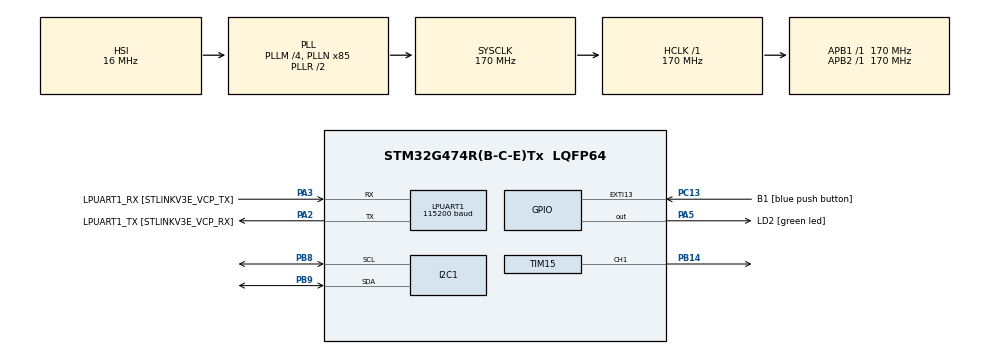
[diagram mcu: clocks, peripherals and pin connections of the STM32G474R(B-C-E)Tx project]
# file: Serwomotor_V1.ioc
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I2C1.Timing=0x40B285C2
LPUART1.BaudRate=115200
Mcu.Family=STM32G4
Mcu.Name=STM32G474R(B-C-E)Tx
Mcu.Package=LQFP64
NVIC.EXTI15_10_IRQn=true\:0\:0\:false\:false\:true\:true\:true\:true
NVIC.PriorityGroup=NVIC_PRIORITYGROUP_4
NVIC.TIM1_UP_TIM16_IRQn=true\:0\:0\:false\:true\:true\:1\:true\:true\:true
NVIC.TIM20_UP_IRQn=true\:0\:0\:false\:true\:true\:2\:true\:true\:true
NVIC.TIM8_UP_IRQn=true\:0\:0\:false\:true\:true\:3\:true\:true\:true
PA13.GPIO_Label=T_SWDIO
PA13.Mode=Serial_Wire
PA13.Signal=SYS_JTMS-SWDIO
PA14.GPIO_Label=T_SWCLK
PA14.Mode=Serial_Wire
PA14.Signal=SYS_JTCK-SWCLK
PA2.GPIO_Label=LPUART1_TX [STLINKV3E_VCP_RX]
PA2.Mode=Asynchronous
PA2.Signal=LPUART1_TX
PA3.GPIO_Label=LPUART1_RX [STLINKV3E_VCP_TX]
PA3.Mode=Asynchronous
PA3.Signal=LPUART1_RX
PA5.GPIO_Label=LD2 [green led]
PA5.Signal=GPIO_Output
PB14.Signal=S_TIM15_CH1
PB3.GPIO_Label=T_SWO
PB3.Signal=SYS_JTDO-SWO
PB4.Signal=S_TIM16_CH1
PB8-BOOT0.Mode=I2C
PB8-BOOT0.Signal=I2C1_SCL
PB9.Mode=I2C
PB9.Signal=I2C1_SDA
PC13.GPIO_Label=B1 [blue push button]
PC13.Signal=GPXTI13
PC14-OSC32_IN.GPIO_Label=RCC_OSC32_IN
PC14-OSC32_IN.Mode=LSE-External-Oscillator
PC14-OSC32_IN.Signal=RCC_OSC32_IN
PC15-OSC32_OUT.GPIO_Label=RCC_OSC32_OUT
PC15-OSC32_OUT.Mode=LSE-External-Oscillator
PC15-OSC32_OUT.Signal=RCC_OSC32_OUT
PF0-OSC_IN.GPIO_Label=RCC_OSC_IN
PF0-OSC_IN.Mode=HSE-External-Oscillator
PF0-OSC_IN.Signal=RCC_OSC_IN
PF1-OSC_OUT.GPIO_Label=RCC_OSC_OUT
PF1-OSC_OUT.Mode=HSE-External-Oscillator
PF1-OSC_OUT.Signal=RCC_OSC_OUT
ProjectManager.HeapSize=0x200
ProjectManager.StackSize=0x400
ProjectManager.TargetToolchain=STM32CubeIDE
RCC.ADC12Freq_Value=170000000
RCC.ADC345Freq_Value=170000000
RCC.AHBFreq_Value=170000000
RCC.APB1Freq_Value=170000000
RCC.APB1TimFreq_Value=170000000
RCC.APB2Freq_Value=170000000
RCC.APB2TimFreq_Value=170000000
RCC.CortexFreq_Value=170000000
RCC.EXTERNAL_CLOCK_VALUE=12288000
RCC.HCLKFreq_Value=170000000
RCC.HSE_VALUE=24000000
RCC.HSI48_VALUE=48000000
RCC.HSI_VALUE=16000000
RCC.PLLM=RCC_PLLM_DIV4
RCC.PLLN=85
RCC.RTCClockSelection=RCC_RTCCLKSOURCE_LSE
RCC.SYSCLKFreq_VALUE=170000000
RCC.SYSCLKSource=RCC_SYSCLKSOURCE_PLLCLK
RCC.USBFreq_Value=170000000
RCC.VCOOutputFreq_Value=340000000
SH.S_TIM15_CH1.0=TIM15_CH1,PWM Generation1 CH1
SH.S_TIM16_CH1.0=TIM16_CH1
TIM1.PeriodNoDither=999
TIM1.Prescaler=16999
TIM15.AutoReloadPreload=TIM_AUTORELOAD_PRELOAD_ENABLE
TIM15.Channel-PWM\ Generation1\ CH1=TIM_CHANNEL_1
TIM15.PeriodNoDither=19999
TIM15.Prescaler=169
TIM20.PeriodNoDither=9999
TIM20.Prescaler=16999
TIM8.PeriodNoDither=9999
TIM8.Prescaler=1699
VP_SYS_VS_DBSignals.Mode=DisableDeadBatterySignals
VP_TIM15_VS_ClockSourceINT.Mode=Internal
VP_TIM1_VS_ClockSourceINT.Mode=Internal
VP_TIM20_VS_ClockSourceINT.Mode=Internal
VP_TIM8_VS_ClockSourceINT.Mode=Internal
board=NUCLEO-G474RE

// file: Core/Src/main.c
/* USER CODE BEGIN Header */
/**
  ******************************************************************************
  * @file           : main.c
  * @brief          : Main program body
  ******************************************************************************
  * @attention
  *
  * Copyright (c) 2025 STMicroelectronics.
  * All rights reserved.
  *
  * This software is licensed under terms that can be found in the LICENSE file
  * in the root directory of this software component.
  * If no LICENSE file comes with this software, it is provided AS-IS.
  *
  ******************************************************************************
  */
/* USER CODE END Header */
#include "main.h"
#include "i2c.h"
#include "usart.h"
#include "tim.h"
#include "gpio.h"

/* USER CODE BEGIN Includes */
#include "SerwoSimple.h"
#include <stdio.h>
#include <string.h>
#include "MPU6050.h"
/* USER CODE END Includes */

/* USER CODE BEGIN PV */
//MPU6050
MPU6050_t MPU6050;
float Roll, Pitch, Yaw;
float RollA, PitchA, YawA;
float RollG, PitchG, YawG;

//Servomotor
//volatile int16_t ServoValue = 0;
//volatile int8_t Dir = 1;
//uint16_t Tmp = 0;
/*
static int ServoValue = 0;
static int Dir = 1;  // 1 = ruch do 45, -1 = ruch do 0, 0 = postój
static int Tmp = 0;
const int CZAS_POSTOJU = 1000;

uint16_t Counter = 0;

char Message[128];

volatile uint16_t StartTheServo = 0;
volatile uint16_t ServoInterrupt = 0;
volatile uint8_t InterruptFlag = 0;

//sinusoida
static float phase = 0.0f;

// Amplituda (0..450)
#define SERVO_AMPLITUDE 450.0f

// Krok fazy – im większy, tym szybciej „sinusoida”
// 0.05 → wolno i płynnie
// 0.1  → dwa razy szybciej
#define PHASE_STEP 0.01f
*/
volatile uint8_t timerFlag = 0;      // Flaga ustawiana przez timer (co 0.1s)
volatile uint16_t currentAngle = 0;  // Aktualna pozycja serwa (do wysłania)
/* USER CODE END PV */

void SystemClock_Config(void);
static void MX_NVIC_Init(void);

int main(void)
{

  /* MCU Configuration--------------------------------------------------------*/

  /* Reset of all peripherals, Initializes the Flash interface and the Systick. */
  HAL_Init();

  /* Configure the system clock */
  SystemClock_Config();

  /* Initialize all configured peripherals */
  MX_GPIO_Init();
  MX_LPUART1_UART_Init();
  MX_TIM15_Init();
  MX_TIM1_Init();
  MX_TIM20_Init();
  MX_I2C1_Init();
  MX_TIM8_Init();

  /* Initialize interrupts */
  MX_NVIC_Init();
  /* USER CODE BEGIN 2 */

  MPU6050_Init(&MPU6050, &hi2c1, 0x68);

  HAL_Delay(2000);

  HAL_TIM_PWM_Start(&htim15, TIM_CHANNEL_1);
  HAL_TIM_Base_Start_IT(&htim1);
  HAL_TIM_Base_Start_IT(&htim20);
  HAL_TIM_Base_Start_IT(&htim8);

  StartTheServo = 1;
  /* USER CODE END 2 */

  /* Infinite loop */
  /* USER CODE BEGIN WHILE */
  HAL_Delay(1000);
  while (1)
  {
//todo: strojenie silników
	  /*
	__HAL_TIM_SET_COMPARE(&htim15, TIM_CHANNEL_1, 000);
	HAL_Delay(2000);
	__HAL_TIM_SET_COMPARE(&htim15, TIM_CHANNEL_1, 450);
	HAL_Delay(2000);
	*/
	/*
	SetAngle(0, 1);
	HAL_Delay(2000);
	SetAngle(450, 1);
	HAL_Delay(2000);

	SetAngle(900, 1);
	HAL_Delay(2000);
	*/

	/*
	for(uint16_t i = 0; i < 450; i++)
	{
		SetAngle(i, 1);
		HAL_Delay(10);
	}
	for(uint16_t i = 450; i > 0; i--)
	{
		SetAngle(i, 1);
		HAL_Delay(10);

	}
	*/
	  if(InterruptFlag == 1)
	  {
		  InterruptFlag = 0;
		  MPU6050_Angle(&MPU6050, &Roll, &Pitch, &Yaw);
		  //MPU6050_DegFromAccel(&MPU6050, &RollA, &PitchA);
		  //MPU6050_DegFromGyro(&MPU6050, &RollG, &PitchG, &YawG);

		 //MPU6050_DegFromAccel(&MPU6050, &RollA, &PitchA);
		 //MPU6050_DegFromGyro(&MPU6050, &RollG, &PitchG, &YawG);

		  //RollG = MPU6050.GyroDryf.X;
		  //PitchG = MPU6050.GyroDryf.Y;

		  sprintf(Message, "%.3f %.3f %d\r", Roll, Pitch, ServoValue);
		  HAL_UART_Transmit(&hlpuart1, (uint8_t*) Message, strlen(Message), HAL_MAX_DELAY);
	  }

    /* USER CODE END WHILE */

  }
}

void SystemClock_Config(void)
{
  RCC_OscInitTypeDef RCC_OscInitStruct = {0};
  RCC_ClkInitTypeDef RCC_ClkInitStruct = {0};

  /** Configure the main internal regulator output voltage
  */
  HAL_PWREx_ControlVoltageScaling(PWR_REGULATOR_VOLTAGE_SCALE1_BOOST);

  /** Initializes the RCC Oscillators according to the specified parameters
  * in the RCC_OscInitTypeDef structure.
  */
  RCC_OscInitStruct.OscillatorType = RCC_OSCILLATORTYPE_HSI;
  RCC_OscInitStruct.HSIState = RCC_HSI_ON;
  RCC_OscInitStruct.HSICalibrationValue = RCC_HSICALIBRATION_DEFAULT;
  RCC_OscInitStruct.PLL.PLLState = RCC_PLL_ON;
  RCC_OscInitStruct.PLL.PLLSource = RCC_PLLSOURCE_HSI;
  RCC_OscInitStruct.PLL.PLLM = RCC_PLLM_DIV4;
  RCC_OscInitStruct.PLL.PLLN = 85;
  RCC_OscInitStruct.PLL.PLLP = RCC_PLLP_DIV2;
  RCC_OscInitStruct.PLL.PLLQ = RCC_PLLQ_DIV2;
  RCC_OscInitStruct.PLL.PLLR = RCC_PLLR_DIV2;
  if (HAL_RCC_OscConfig(&RCC_OscInitStruct) != HAL_OK)
  {
    Error_Handler();
  }

  /** Initializes the CPU, AHB and APB buses clocks
  */
  RCC_ClkInitStruct.ClockType = RCC_CLOCKTYPE_HCLK|RCC_CLOCKTYPE_SYSCLK
                              |RCC_CLOCKTYPE_PCLK1|RCC_CLOCKTYPE_PCLK2;
  RCC_ClkInitStruct.SYSCLKSource = RCC_SYSCLKSOURCE_PLLCLK;
  RCC_ClkInitStruct.AHBCLKDivider = RCC_SYSCLK_DIV1;
  RCC_ClkInitStruct.APB1CLKDivider = RCC_HCLK_DIV1;
  RCC_ClkInitStruct.APB2CLKDivider = RCC_HCLK_DIV1;

  if (HAL_RCC_ClockConfig(&RCC_ClkInitStruct, FLASH_LATENCY_4) != HAL_OK)
  {
    Error_Handler();
  }
}

/**
  * @brief NVIC Configuration.
  * @retval None
  */
static void MX_NVIC_Init(void)
{
  /* TIM1_UP_TIM16_IRQn interrupt configuration */
  HAL_NVIC_SetPriority(TIM1_UP_TIM16_IRQn, 0, 0);
  HAL_NVIC_EnableIRQ(TIM1_UP_TIM16_IRQn);
  /* TIM20_UP_IRQn interrupt configuration */
  HAL_NVIC_SetPriority(TIM20_UP_IRQn, 0, 0);
  HAL_NVIC_EnableIRQ(TIM20_UP_IRQn);
  /* TIM8_UP_IRQn interrupt configuration */
  HAL_NVIC_SetPriority(TIM8_UP_IRQn, 0, 0);
  HAL_NVIC_EnableIRQ(TIM8_UP_IRQn);
}

/* USER CODE BEGIN 4 */
void HAL_TIM_PeriodElapsedCallback(TIM_HandleTypeDef *htim)
{

	if(htim->Instance == TIM1)
	{

		InterruptFlag = 1;
	}
	//kod odpowiadający za wymuszenie do 45 stopni w 5 sekundzie
	//zmienić tim20 counter period na 9999 (1hz)
/*
	if(htim->Instance == TIM20)
	{
		HAL_GPIO_TogglePin(LD2_GPIO_Port, LD2_Pin);

		Counter++;
		if(Counter == 5)
		{
			ServoValue = 450;
			SetAngle(ServoValue, 1);
		}
		if(Counter == 25)
		{
			ServoValue = 0;
			SetAngle(ServoValue, 1);
		}
	}

/*
	if(htim->Instance == TIM20)
	{
		ServoValue += Dir;
		if(ServoValue >= 450)
		{
			Dir = -1;
		}
		else if(ServoValue <= 0)
		{
			Dir = 1;
		}
		SetAngle(ServoValue, 1);
	}
*/
	//Wartość kąta servomotoru zmienia się stopniowo w zakresie od 0 do 45 stopni, następnie następuje postój i z powrotem
	//należy zmienić timer20 counter period na 99 lub 999 (10 Hz lub 100Hz)
	/*
	if(htim->Instance == TIM20)
	{
		if(ServoInterrupt == 1)
		{
			if (Dir == 1) // Stan: RUCH DO 45 STOPNI
					{
						ServoValue++; // Krok w górę
						if (ServoValue >= 450)
						{
							ServoValue = 450; // Ustaw na 45 (zapobiegaj przekroczeniu)
							Dir = -1;          // Zmień stan na POSTÓJ
							Tmp = 0;          // Zresetuj licznik czasu postoju
						}
					}
					else if (Dir == -1) // Stan: RUCH DO 0 STOPNI
					{

						ServoValue--; // Krok w dół
						if (ServoValue <= 0)
						{
							ServoValue = 0;   // Ustaw na 0 (zapobiegaj przekroczeniu)
							Dir = 1;          // Zmień stan na POSTÓJ
							Tmp = 0;          // Zresetuj licznik czasu postoju
						}

					}
					else // Stan: POSTÓJ (Dir == 0)
					{
						Tmp++; // Odliczaj czas postoju

						// Sprawdź, czy czas postoju minął
						if (Tmp >= CZAS_POSTOJU)
						{
							// Czas minął, zdecyduj, w którą stronę ruszyć
							if (ServoValue == 450) // Jeśli stoimy na 45 stopniach
							{
								Dir = -1; // Ustaw kierunek na RUCH DO 0
							}
							else // Jeśli stoimy na 0 stopni
							{
								Dir = 1; // Ustaw kierunek na RUCH DO 45
							}
						}
						// Jeśli Tmp < CZAS_POSTOJU, nic nie rób, po prostu czekaj dalej
					}

					// Wywołaj funkcję ustawiającą kąt w każdej iteracji
					// Upewnij się, że SetAngle akceptuje wartości 0-450
					SetAngle(ServoValue, 1);
			}
	}
	*/
	/*
	//sinusoida
	if(htim->Instance == TIM20)
	{
		if(ServoInterrupt == 1)
		{
			// Aktualizacja fazy
			phase += PHASE_STEP;

			// Opcjonalnie — reset fazy (żeby nie rosła w nieskończoność)
			if(phase >= 6.28318f)   // 2 * PI
				phase = 0.0f;

			// Liczymy sinusoidę 0..450
			float sinVal = (sinf(phase) + 1.0f) * 0.5f;  // 0..1
			ServoValue = (int)(sinVal * SERVO_AMPLITUDE);

			// Ustawiamy serwo
			SetAngle(ServoValue, 1);
		}
	}
	*/
	//Wartość kąta servomotoru zmienia się skokowo w zakresie od 0 do 45 stopni i z powrotem
	//należy zmienić timer20 counter period na 99 lub 999 (10 Hz lub 100Hz)
/*
	if(htim->Instance == TIM20)
	{
		if(Dir == 1)
		{
			Dir = 0;
	        ServoValue = 450;
			SetAngle(ServoValue , 1);
		}
		else if(Dir == 0)
		{
			Dir = 1;
	        ServoValue = 0;
			SetAngle(ServoValue, 1);
		}
	}
*/
/*
	if(htim->Instance == TIM8)
	{
		StartTheServo ++;

		if(StartTheServo == 2)
		{
			ServoInterrupt = 1;
		}
	}
	*/
	void SetAngle_WithGlobalUpdate(uint16_t Angle, uint8_t Mode)
	{
	    currentAngle = Angle; // Zapisz dla UART
	    SetAngle(Angle, Mode); // Wykonaj ruch (Twoja oryginalna funkcja)
	}

}

void SetAngle_WithGlobalUpdate(uint16_t Angle, uint8_t Mode)
{
    currentAngle = Angle; // Zapisz dla UART
    SetAngle(Angle, Mode); // Wykonaj ruch (Twoja oryginalna funkcja)
}
/* USER CODE END 4 */

void Error_Handler(void)
{
  __disable_irq();
  while (1)
  {
  }
}
